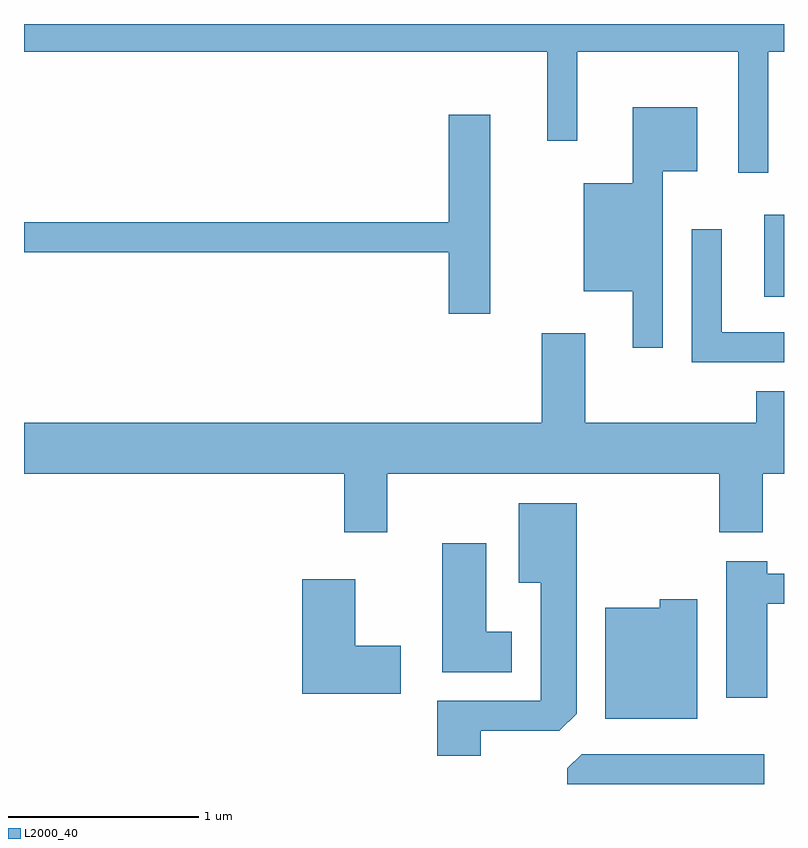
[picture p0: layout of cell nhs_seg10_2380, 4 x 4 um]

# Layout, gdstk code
import gdstk
lib = gdstk.Library(unit=1e-6, precision=1e-09)
def R(c, l, rs):  # rectangles x0, y0, x1, y1
    for r in rs: c.add(gdstk.rectangle(r[:2], r[2:], *l))
def P(c, l, *ps):  # polygons
    for p in ps: c.add(gdstk.Polygon(p, *l))
L2000_40 = (2000, 40)

nhs_seg10_2380 = lib.new_cell('nhs_seg10_2380')
R(nhs_seg10_2380, L2000_40, [(259.506,2097.086,259.611,2097.519)])
P(nhs_seg10_2380, L2000_40, [(259.529,2098.376),(259.611,2098.376),(259.611,2098.522),(255.611,2098.522),(255.611,2098.376),(258.366,2098.376),(258.366,2097.908),(258.524,2097.908),(258.524,2098.376),(259.371,2098.376),(259.371,2097.738),(259.529,2097.738)],
  [(258.974,2097.746),(259.154,2097.746),(259.154,2098.084),(258.816,2098.084),(258.816,2097.684),(258.556,2097.684),(258.556,2097.116),(258.816,2097.116),(258.816,2096.818),(258.974,2096.818)],
  [(258.064,2098.044),(257.846,2098.044),(257.846,2097.479),(255.611,2097.479),(255.611,2097.321),(257.846,2097.321),(257.846,2096.996),(258.064,2096.996)],
  [(259.611,2096.899),(259.284,2096.899),(259.284,2097.443),(259.126,2097.443),(259.126,2096.741),(259.611,2096.741)],
  [(257.524,2096.156),(259.271,2096.156),(259.271,2095.846),(259.499,2095.846),(259.499,2096.156),(259.611,2096.156),(259.611,2096.589),(259.466,2096.589),(259.466,2096.424),(258.564,2096.424),(258.564,2096.894),(258.336,2096.894),(258.336,2096.424),(255.611,2096.424),(255.611,2096.156),(257.296,2096.156),(257.296,2095.846),(257.524,2095.846)],
  [(258.014,2094.801),(258.429,2094.801),(258.519,2094.892),(258.519,2095.999),(258.216,2095.999),(258.216,2095.581),(258.331,2095.581),(258.331,2094.959),(257.786,2094.959),(257.786,2094.671),(258.014,2094.671)],
  [(258.179,2095.324),(258.044,2095.324),(258.044,2095.789),(257.811,2095.789),(257.811,2095.111),(258.179,2095.111)],
  [(259.524,2095.471),(259.611,2095.471),(259.611,2095.629),(259.524,2095.629),(259.524,2095.694),(259.306,2095.694),(259.306,2094.976),(259.524,2094.976)],
  [(257.594,2095.249),(257.354,2095.249),(257.354,2095.599),(257.076,2095.599),(257.076,2094.996),(257.594,2094.996)],
  [(259.154,2095.494),(258.956,2095.494),(258.956,2095.449),(258.671,2095.449),(258.671,2094.866),(259.154,2094.866)],
  [(259.508,2094.679),(258.546,2094.679),(258.471,2094.604),(258.471,2094.522),(259.508,2094.522)])

lib.write_gds('nhs_seg10_2380.gds')
